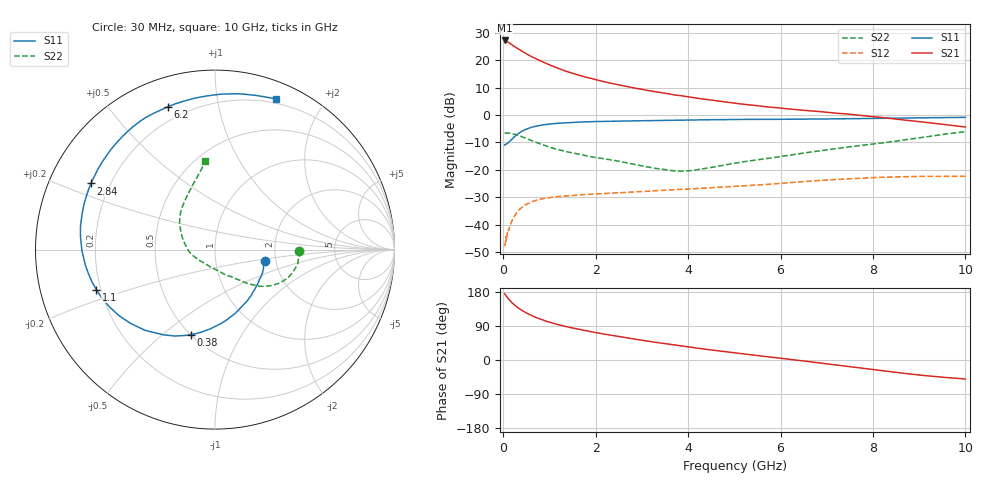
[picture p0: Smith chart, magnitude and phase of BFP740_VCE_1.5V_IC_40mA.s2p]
! Infineon Technologies  Discrete & RF Semiconductors
! BFP740
! VCE =  1.5 V,  IC =  40 mA
! Common Emitter S-Parameters:  Jan 2016
# GHz  S  MA  R  50
!  f  S11  S21  S12  S22
! GHz  MAG  ANG  MAG  ANG  MAG  ANG  MAG  ANG
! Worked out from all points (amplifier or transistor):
!   229 points, 30 MHz to 10 GHz, reference 50 ohm
!   highest |S21| = 27.1 dB at 30 MHz (marker M1)
!   |S21| within 3 dB of that: start of sweep to 317.6 MHz
!   unconditionally stable (mu >= 1): start of sweep to 434.3 MHz; 1.243 GHz to end of sweep
!   at 280 MHz: K = 1.24, MAG = 27.2 dB, |S12| = -35.8 dB
!   at 1.78 GHz: K = 1.16, MAG = 19.0 dB, |S12| = -28.9 dB
!   at 10 GHz: K = 1.78, MAG = 3.9 dB, |S12| = -22.3 dB
!   S11 on the Smith chart (normalised r, x): 30 MHz: 1.75, -0.25; 380 MHz: 0.50, -0.63; 1.1 GHz: 0.18, -0.16; 2.84 GHz: 0.13, +0.25; 6.2 GHz: 0.13, +0.71; 10 GHz: 0.16, +1.47
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0.03  0.2849 -13.2  22.75 174.9  0.0041 34.4  0.4673 -1.0
0.09  0.3036 -37.3  21.52 164.6  0.0072 48.3  0.4698 -6.0
0.13  0.3252 -51.6  20.64 158.6  0.0089 58.1  0.4688 -9.1
0.155  0.34 -59.5  19.88 155.3  0.0099 58.4  0.4642 -11.1
0.2  0.372 -72.1  18.64 149.7  0.0125 56.9  0.4557 -14.6
0.26  0.4138 -85.5  17.27 143.5  0.0153 55.9  0.4431 -18.9
0.38  0.4921 -105.9  14.96 132.9  0.02 49.8  0.41 -26.4
0.5  0.5539 -120.9  13.01 124.1  0.0236 44.9  0.3745 -32.3
0.6  0.5943 -130.7  11.66 117.9  0.026 41.2  0.3463 -36.3
0.7  0.624 -138.6  10.65 112.6  0.0278 37.8  0.3219 -39.4
0.9  0.6687 -151.4  8.908 103.5  0.0305 33.1  0.2777 -44.1
1.1  0.6979 -161.4  7.572 96.2  0.0321 29.2  0.2452 -47.8
1.34  0.7215 -170.9  6.351 88.8  0.0336 26.5  0.2174 -51.5
1.7  0.7465 177.7  5.136 79.3  0.0355 23.9  0.1878 -56.3
2.2  0.7663 165.2  3.983 67.9  0.0373 22.2  0.1586 -65.0
2.84  0.7831 151.9  3.096 55.2  0.04 20.9  0.1264 -77.7
3.4  0.7963 141.7  2.581 44.9  0.0423 20.1  0.104 -97.8
5.1  0.8297 118.4  1.602 17.4  0.0508 17.3  0.1367 -170.7
6.2  0.8375 108.3  1.285 1.9  0.0589 14.5  0.1859 162.9
6.8  0.8451 102.0  1.164 -6.9  0.0639 11.1  0.2201 150.6
8.4  0.8759 82.4  0.861 -31.2  0.0744 -1.3  0.3265 120.0
10  0.9063 68.0  0.606 -50.3  0.0767 -12.5  0.4973 96.2
